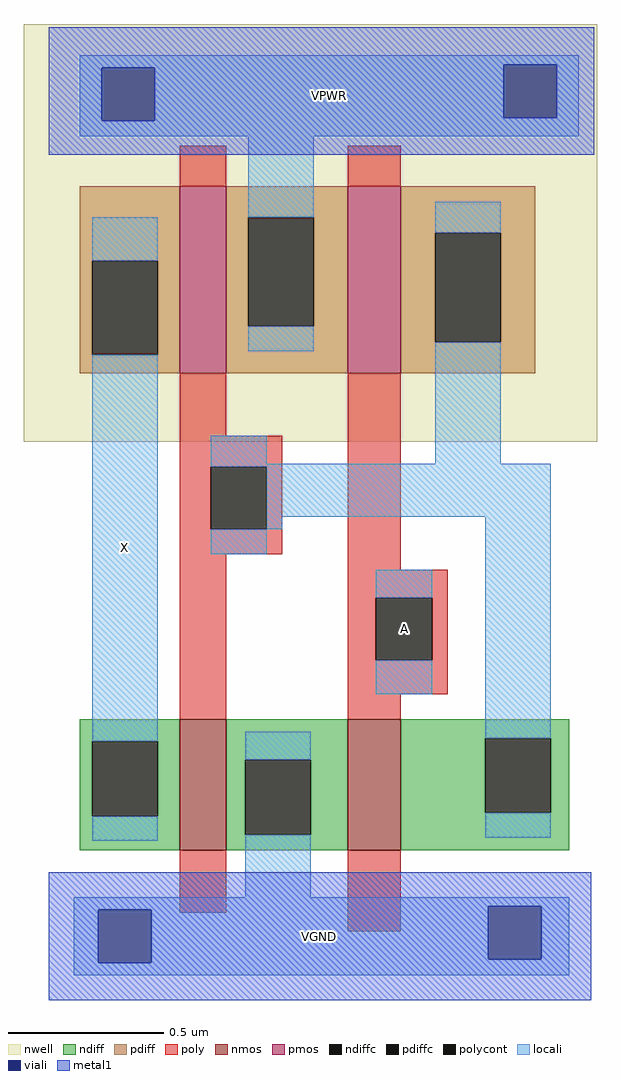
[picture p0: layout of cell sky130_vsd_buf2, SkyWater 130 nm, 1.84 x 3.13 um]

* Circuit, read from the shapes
.subckt sky130_vsd_buf2 X A VPWR VGND
XM1 VGND n1 X VSUBS sky130_fd_pr__nfet_01v8 w=0.42 l=0.15
XM2 n1 A VGND VSUBS sky130_fd_pr__nfet_01v8 w=0.42 l=0.17
XM3 VPWR n1 X n2 sky130_fd_pr__pfet_01v8 w=0.6 l=0.15
XM4 n1 A VPWR n2 sky130_fd_pr__pfet_01v8 w=0.6 l=0.17
.ends

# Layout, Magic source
magic
tech sky130A
<< nwell >>
rect -8 158 176 292
<< nmos >>
rect 42 27 57 69
rect 96 27 113 69
<< pmos >>
rect 42 180 57 240
rect 96 180 113 240
<< ndiff >>
rect 10 62 42 69
rect 10 38 14 62
rect 35 38 42 62
rect 10 27 42 38
rect 57 56 96 69
rect 57 32 63 56
rect 84 32 96 56
rect 57 27 96 32
rect 113 63 167 69
rect 113 39 140 63
rect 161 39 167 63
rect 113 27 167 39
<< pdiff >>
rect 10 216 42 240
rect 10 186 14 216
rect 35 186 42 216
rect 10 180 42 186
rect 57 230 96 240
rect 57 195 64 230
rect 85 195 96 230
rect 57 180 96 195
rect 113 225 156 240
rect 113 190 124 225
rect 145 190 156 225
rect 113 180 156 190
<< ndiffc >>
rect 14 38 35 62
rect 63 32 84 56
rect 140 39 161 63
<< pdiffc >>
rect 14 186 35 216
rect 64 195 85 230
rect 124 190 145 225
<< poly >>
rect 42 240 57 253
rect 96 240 113 253
rect 42 160 57 180
rect 42 150 75 160
rect 42 130 52 150
rect 70 130 75 150
rect 42 122 75 130
rect 42 69 57 122
rect 96 117 113 180
rect 96 108 128 117
rect 96 88 105 108
rect 123 88 128 108
rect 96 77 128 88
rect 96 69 113 77
rect 42 7 57 27
rect 96 1 113 27
<< polycont >>
rect 52 130 70 150
rect 105 88 123 108
<< locali >>
rect 10 279 170 282
rect 10 278 146 279
rect 10 261 17 278
rect 34 262 146 278
rect 163 262 170 279
rect 34 261 170 262
rect 10 256 170 261
rect 64 230 85 256
rect 14 216 35 230
rect 64 187 85 195
rect 124 225 145 235
rect 14 62 35 186
rect 52 151 70 160
rect 124 151 145 190
rect 52 150 161 151
rect 70 134 161 150
rect 70 130 75 134
rect 52 122 70 130
rect 105 108 123 117
rect 105 77 123 88
rect 14 30 35 38
rect 63 56 84 65
rect 63 12 84 32
rect 140 63 161 134
rect 140 31 161 39
rect 8 9 167 12
rect 8 8 141 9
rect 8 -9 16 8
rect 33 -8 141 8
rect 158 -8 167 9
rect 33 -9 167 -8
rect 8 -13 167 -9
<< viali >>
rect 17 261 34 278
rect 146 262 163 279
rect 16 -9 33 8
rect 141 -8 158 9
<< metal1 >>
rect 0 279 175 291
rect 0 278 146 279
rect 0 261 17 278
rect 34 262 146 278
rect 163 262 175 279
rect 34 261 175 262
rect 0 250 175 261
rect 0 9 174 20
rect 0 8 141 9
rect 0 -9 16 8
rect 33 -8 141 8
rect 158 -8 174 9
rect 33 -9 174 -8
rect 0 -21 174 -9
<< labels >>
flabel locali 14 62 35 186 0 FreeSans 120 0 0 0 X
port 1 nsew signal output
flabel polycont 105 88 123 108 0 FreeSans 120 0 0 0 A
port 4 nsew signal input
flabel locali 34 256 146 282 0 FreeSans 120 0 0 0 VPWR
port 5 nsew power bidirectional
flabel locali 33 -13 141 12 0 FreeSans 120 0 0 0 VGND
port 6 nsew ground bidirectional
<< properties >>
string FIXED_BBOX 0 0 200 272
<< end >>
